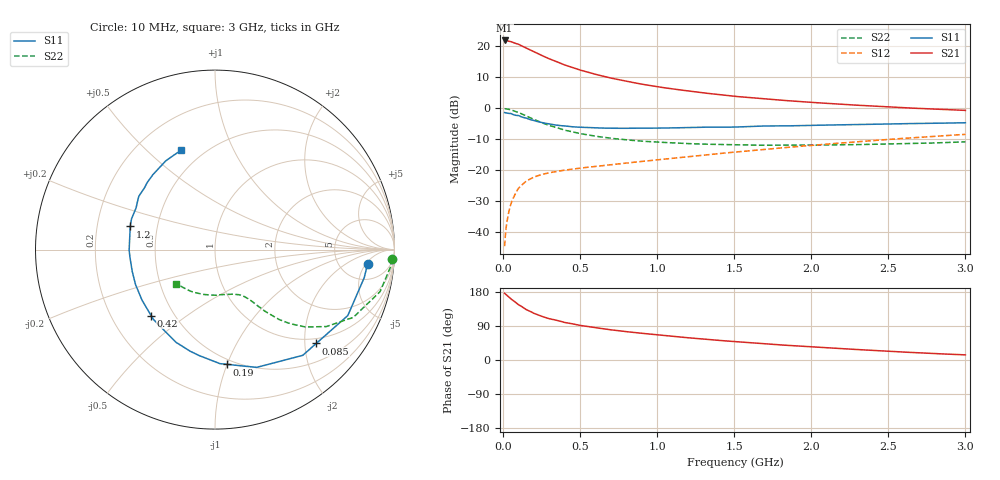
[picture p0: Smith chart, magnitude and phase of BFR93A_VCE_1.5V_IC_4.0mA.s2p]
! Infineon Technologies  Discrete & RF Semiconductors
! BFR93A
! VCE =  1.5 V,  IC =  4.0 mA
! Common Emitter S-Parameters:  Nov 2015
# GHz  S  MA  R  50
!  f  S11  S21  S12  S22
! GHz  MAG  ANG  MAG  ANG  MAG  ANG  MAG  ANG
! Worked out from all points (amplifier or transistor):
!   180 points, 10 MHz to 3 GHz, reference 50 ohm
!   highest |S21| = 21.9 dB at 10 MHz (marker M1)
!   |S21| within 3 dB of that: start of sweep to 173.5 MHz
!   unconditionally stable (mu >= 1): 777.4 MHz to end of sweep
!   at 160 MHz: K = 0.30, MSG = 21.3 dB, |S12| = -23.3 dB
!   at 1.22 GHz: K = 1.15, MAG = 8.2 dB, |S12| = -15.5 dB
!   at 3 GHz: K = 1.02, MAG = 3.1 dB, |S12| = -8.4 dB
!   S11 on the Smith chart (normalised r, x): 10 MHz: 9, -6; 85 MHz: 0.88, -2.26; 190 MHz: 0.46, -1.00; 420 MHz: 0.37, -0.37; 1.2 GHz: 0.35, +0.12; 3 GHz: 0.38, +0.64
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0.01  0.8538 -5.4  12.51 176.0  0.0059 87.6  0.9874 -3.0
0.02  0.8462 -10.6  12.47 172.3  0.0118 83.5  0.982 -5.8
0.05  0.8262 -26.4  12.04 161.4  0.0281 75.8  0.949 -14.3
0.085  0.7691 -42.8  11.13 150.9  0.0439 66.7  0.8812 -22.3
0.1  0.7656 -50.3  10.86 146.0  0.0509 64.5  0.858 -26.1
0.15  0.6961 -70.5  9.468 133.1  0.0664 56.1  0.7536 -34.7
0.19  0.6432 -83.9  8.463 125.4  0.0751 51.6  0.6796 -39.3
0.2  0.636 -87.5  8.239 123.2  0.0773 50.6  0.6619 -40.6
0.24  0.5969 -98.5  7.373 116.9  0.0834 47.6  0.6012 -43.8
0.3  0.5601 -112.9  6.317 108.9  0.0908 44.8  0.528 -47.5
0.4  0.5189 -131.4  5.021 99.0  0.1002 42.8  0.4436 -50.9
0.42  0.5117 -134.1  4.842 97.7  0.1017 42.7  0.4328 -51.3
0.52  0.491 -147.5  4.032 90.2  0.1093 42.5  0.3826 -53.2
0.6  0.4836 -156.3  3.546 85.1  0.1151 43.0  0.3533 -54.5
0.7  0.477 -165.0  3.082 79.6  0.1228 43.9  0.328 -56.2
0.9  0.4784 -179.5  2.456 70.5  0.1384 46.1  0.2942 -60.0
1.02  0.4792 173.5  2.198 65.6  0.1488 47.2  0.2826 -62.6
1.2  0.4896 164.7  1.91 58.7  0.1657 48.3  0.2686 -67.7
1.52  0.4992 151.4  1.55 47.9  0.1976 49.7  0.256 -78.0
2.02  0.5316 135.0  1.24 34.2  0.2537 48.9  0.2544 -96.8
2.52  0.5586 121.3  1.048 22.7  0.3167 45.4  0.2655 -117.1
3  0.5843 108.9  0.926 13.5  0.3792 40.3  0.287 -138.7
